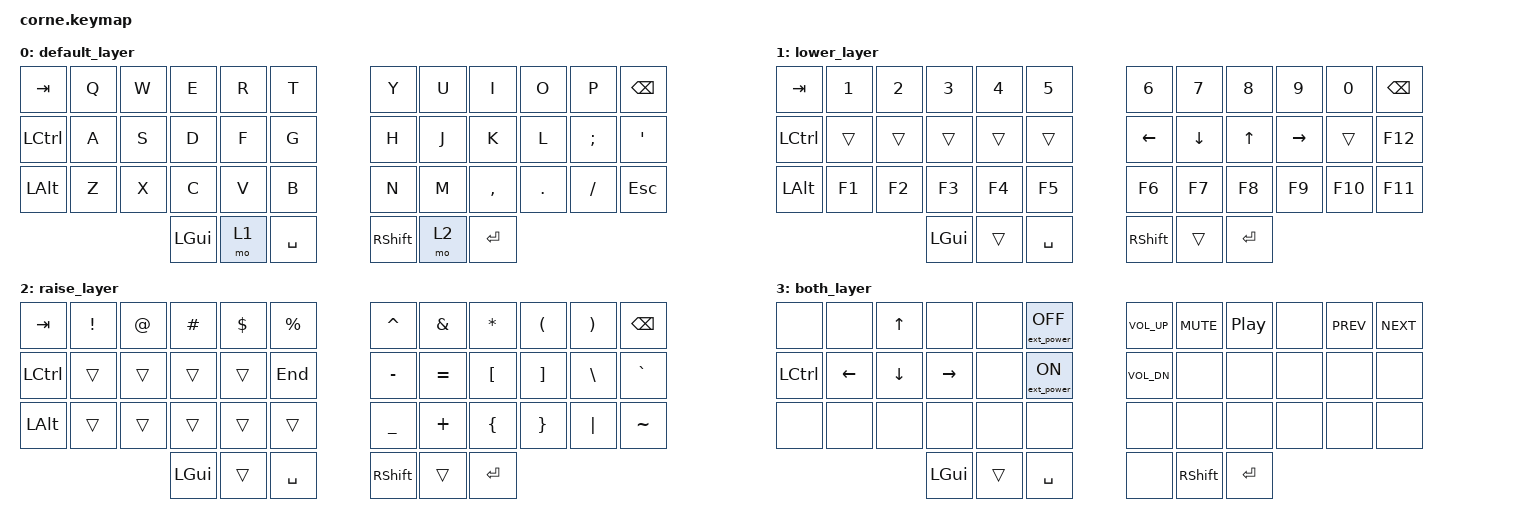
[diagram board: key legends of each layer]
#include <behaviors.dtsi>
#include <dt-bindings/zmk/keys.h>
#include <dt-bindings/zmk/bt.h>
#include <dt-bindings/zmk/ext_power.h>

#define _default_layer 0
#define _lower_layer 1
#define _raise_layer 2
#define _both_layer 3

/ {
    conditional_layers {
        compatible = "zmk,conditional-layers";
        both_layer {
            if-layers = <1 2>;
            then-layer = <3>;
        };
    };
        keymap {
                compatible = "zmk,keymap";

                default_layer {
// -----------------------------------------------------------------------------------------
// |  TAB |  Q  |  W  |  E  |  R  |  T  |   |  Y    |  U   |  I  |  O  |  P  | BKSP |
// | CTRL |  A  |  S  |  D  |  F  |  G  |   |  H    |  J   |  K  |  L  |  ;  |  '   |
// | ALT  |  Z  |  X  |  C  |  V  |  B  |   |  N    |  M   |  ,  |  .  |  /  | ESC  |
//                    | GUI | LWR | SPC |   | SHIFT | RSE  | RET |
                        bindings = <
   &kp TAB   &kp Q &kp W &kp E      &kp R &kp T       &kp Y      &kp U &kp I     &kp O   &kp P    &kp BSPC
   &kp LCTRL &kp A &kp S &kp D      &kp F &kp G       &kp H      &kp J &kp K     &kp L   &kp SEMI  &kp SQT
   &kp LALT  &kp Z &kp X &kp C      &kp V &kp B       &kp N      &kp M &kp COMMA &kp DOT &kp FSLH &kp ESC
                           &kp LGUI &mo 1 &kp SPACE   &kp RSHIFT &mo 2 &kp RET
                        >;
                };
                
                lower_layer {
// -----------------------------------------------------------------------------------------
// |  TAB |  1  |  2  |  3  |  4  |  5  |   |  6    |  7  |  8  |  9  |  0  | BKSP |
// | CTRL |     |     |     |     |     |   | LFT   | DWN |  UP | RGT |     |  F12 |
// | ALT  |  F1 |  F2 | F3  | F4  | F5  |   |  F6   | F7  | F8  |  F9 | F10 | F11  |
//                    | GUI |     | SPC |   | SHIFT | RSE | RET |
                        bindings = <
   &kp TAB   &kp N1 &kp N2 &kp N3   &kp N4 &kp N5      &kp N6     &kp N7   &kp N8 &kp N9    &kp N0  &kp BSPC
   &kp LCTRL &trans &trans &trans   &trans &trans      &kp LEFT   &kp DOWN &kp UP &kp RIGHT &trans  &kp F12 
   &kp LALT  &kp F1 &kp F2 &kp F3   &kp F4 &kp F5      &kp F6     &kp F7   &kp F8 &kp F9    &kp F10 &kp F11 
                           &kp LGUI &trans &kp SPACE   &kp RSHIFT &trans   &kp RET
                        >;
                };

                raise_layer {
// -----------------------------------------------------------------------------------------
// |  TAB |  !  |  @  |  #  |  $  |  %  |   |  ^  |  &  |  *  |  (  |  )  | BKSP |
// | CTRL |     |     |     |     | END |   |  -  |  =  |  [  |  ]  |  \  |  `   |
// | ALT  |     |     |     |     |     |   |  _  |  +  |  {  |  }  | "|" |  ~   |
//                    | GUI | LWR | SPC |   |SHIFT|     | RET |
                        bindings = <
   &kp TAB   &kp EXCL &kp AT &kp HASH &kp DLLR &kp PRCNT   &kp CARET  &kp AMPS  &kp STAR &kp LPAR &kp RPAR &kp BSPC
   &kp LCTRL &trans   &trans &trans   &trans   &kp END     &kp MINUS  &kp EQUAL &kp LBKT &kp RBKT &kp BSLH &kp GRAVE 
   &kp LALT  &trans   &trans &trans   &trans   &trans      &kp UNDER &kp PLUS  &kp LBRC &kp RBRC &kp PIPE &kp TILDE 
                             &kp LGUI &trans   &kp SPACE   &kp RSHIFT &trans    &kp RET
                        >;
                };
                
                 both_layer {
// -----------------------------------------------------------------------------------------
// |      |     |  UP |     |     |EPOFF|   |VOLUP| MUTE|PAUSE|     | PREV| NEXT |
// | CTRL | LEFT| DOWN|RIGHT|     |EPON |   |VOLDN|     |     |     |     |      |
// |      |     |     |     |     |     |   |     |     |     |     |     |      |
//                    | GUI |     | SPC |   |SHIFT|     | RET |
      bindings = <
        &none     &none    &kp UP   &none     &none  &ext_power EP_OFF   &kp C_VOL_UP &kp C_MUTE &kp C_PP &none &kp C_PREV &kp C_NEXT 
        &kp LCTRL &kp LEFT &kp DOWN &kp RIGHT &none  &ext_power EP_ON    &kp C_VOL_DN &none      &none    &none &none      &none 
        &none     &none    &none    &none     &none  &none               &none        &none      &none    &none &none      &none 
                                    &kp LGUI  &trans &kp SPACE           &none        &kp RSHIFT &kp RET 
                        >;    
      
                };
                
        };
};
